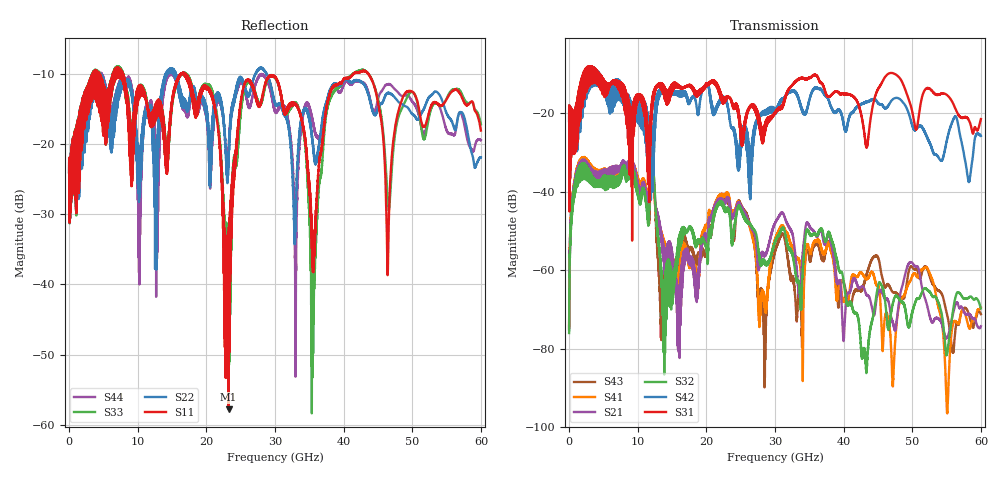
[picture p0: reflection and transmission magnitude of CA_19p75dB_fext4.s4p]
!4 port subset of full cascaded channels using these ports:9 37 10 38
# Hz S RI R 50
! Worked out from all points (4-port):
!   6000 points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, 10 MHz to 60 GHz, reference 50 ohm
!   strongest paths, dB at 10 MHz, 15.01 GHz, 30.01 GHz, 45.01 GHz, 60 GHz:
!     S31: -21.9, -13.2, -19.9, -13.8, -21.4
!     S42: -21.9, -14.4, -18.7, -17.3, -25.7
!     S32: -76.0, -61.0, -52.9, -64.1, -69.8
!     S21: -74.7, -55.6, -48.1, -65.9, -74.3
!     S41: -74.2, -56.0, -52.4, -64.0, -69.6
!     S43: -75.1, -61.6, -55.3, -56.8, -71.2
!   lowest |S11| = -57.8 dB at 23.25 GHz (marker M1), VSWR 1.00, Z = 50.1 - j0.0476 ohm
!   |S11| at or under -10 dB: 7.87 GHz to 16.28 GHz (8.407 GHz wide, 69.6 % of centre); 16.99 GHz to 41.44 GHz (24.45 GHz wide, 83.7 % of centre); 43.58 GHz to end of sweep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
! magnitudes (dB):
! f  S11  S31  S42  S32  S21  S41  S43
! 10 MHz  -24.0  -21.9  -21.9  -76.0  -74.7  -74.2  -75.1
! 1.92 GHz  -15.6  -13.8  -14.6  -36.9  -35.8  -35.2  -36.1
! 12.17 GHz  -17.5  -17.8  -37.3  -34.7  -34.0  -35.2  -35.9
! 13.49 GHz  -16.8  -14.0  -14.7  -64.0  -52.7  -51.1  -70.3
! 23.25 GHz  -57.8  -15.8  -19.4  -44.6  -42.0  -41.0  -43.0
! 28.5 GHz  -11.8  -22.9  -19.3  -58.3  -56.0  -69.3  -77.9
! 60 GHz  -18.1  -21.4  -25.7  -69.8  -74.3  -69.6  -71.2
